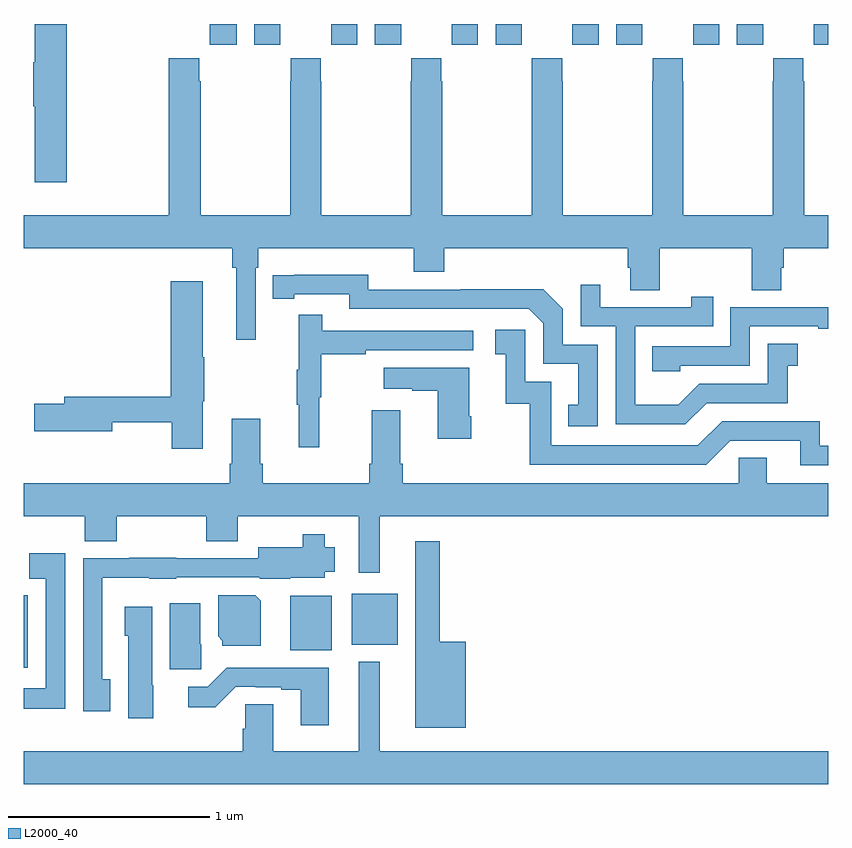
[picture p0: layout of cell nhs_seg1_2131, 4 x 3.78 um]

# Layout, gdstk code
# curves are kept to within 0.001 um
import gdstk
lib = gdstk.Library(unit=1e-6, precision=1e-09)
def R(c, l, rs):  # rectangles x0, y0, x1, y1
    for r in rs: c.add(gdstk.rectangle(r[:2], r[2:], *l))
def P(c, l, *ps):  # polygons
    for p in ps: c.add(gdstk.Polygon(p, *l))
L2000_40 = (2000, 40)

nhs_seg1_2131 = lib.new_cell('nhs_seg1_2131')
R(nhs_seg1_2131, L2000_40, [(227,530.998,227.02,531.359), (228.326,531.086,228.532,531.356), (228.632,531.113,228.859,531.367), (227.924,534.096,228.058,534.199), (228.146,534.096,228.276,534.199), (228.528,534.096,228.658,534.199), (228.746,534.096,228.876,534.199), (229.128,534.096,229.258,534.199), (229.346,534.096,229.476,534.199), (229.728,534.096,229.858,534.199), (229.946,534.096,230.076,534.199), (230.328,534.096,230.458,534.199), (230.546,534.096,230.676,534.199), (230.928,534.096,231,534.199)])
P(nhs_seg1_2131, L2000_40, [(227.213,534.199),(227.054,534.199),(227.054,534.008),(227.047,534.008),(227.047,533.791),(227.054,533.791),(227.054,533.412),(227.213,533.412)],
  [(228.153,532.988),(228.167,532.988),(228.167,533.084),(228.938,533.084),(228.938,532.967),(229.091,532.967),(229.091,533.084),(230.003,533.084),(230.003,532.986),(230.015,532.986),(230.015,532.876),(230.163,532.876),(230.163,533.084),(230.62,533.084),(230.62,532.876),(230.767,532.876),(230.767,532.986),(230.78,532.986),(230.78,533.084),(231,533.084),(231,533.248),(230.88,533.248),(230.88,533.915),(230.877,533.915),(230.877,534.028),(230.727,534.028),(230.727,533.915),(230.725,533.915),(230.725,533.248),(230.28,533.248),(230.28,533.915),(230.277,533.915),(230.277,534.028),(230.127,534.028),(230.127,533.915),(230.125,533.915),(230.125,533.248),(229.68,533.248),(229.68,533.915),(229.677,533.915),(229.677,534.028),(229.527,534.028),(229.527,533.915),(229.525,533.915),(229.525,533.248),(229.08,533.248),(229.08,533.915),(229.077,533.915),(229.077,534.028),(228.927,534.028),(228.927,533.915),(228.925,533.915),(228.925,533.248),(228.48,533.248),(228.48,533.915),(228.477,533.915),(228.477,534.028),(228.327,534.028),(228.327,533.915),(228.325,533.915),(228.325,533.248),(227.88,533.248),(227.88,533.915),(227.873,533.915),(227.873,534.028),(227.72,534.028),(227.72,533.248),(227,533.248),(227,533.084),(228.037,533.084),(228.037,532.988),(228.056,532.988),(228.056,532.629),(228.153,532.629)],
  [(229.854,532.605),(229.68,532.605),(229.68,532.782),(229.582,532.88),(229.174,532.88),(229.174,532.878),(228.714,532.878),(228.714,532.951),(228.238,532.95),(228.238,532.834),(228.346,532.834),(228.346,532.854),(228.618,532.854),(228.618,532.782),(229.512,532.782),(229.584,532.71),(229.584,532.509),(229.757,532.509),(229.757,532.305),(229.708,532.305),(229.708,532.2),(229.854,532.2)],
  [(227.89,532.323),(227.898,532.323),(227.898,532.541),(227.89,532.541),(227.89,532.921),(227.732,532.921),(227.732,532.346),(227.201,532.346),(227.201,532.31),(227.052,532.31),(227.052,532.175),(227.44,532.175),(227.44,532.218),(227.737,532.218),(227.737,532.086),(227.89,532.086)],
  [(230.395,532.314),(230.799,532.314),(230.799,532.499),(230.848,532.499),(230.848,532.609),(230.7,532.609),(230.7,532.41),(230.358,532.41),(230.254,532.306),(230.04,532.306),(230.04,532.695),(230.429,532.695),(230.429,532.843),(230.318,532.843),(230.318,532.791),(229.867,532.791),(229.867,532.903),(229.77,532.903),(229.77,532.695),(229.944,532.695),(229.944,532.209),(230.29,532.209)],
  [(230.265,532.5),(230.61,532.5),(230.61,532.695),(230.951,532.695),(230.951,532.683),(231,532.683),(231,532.791),(230.514,532.791),(230.514,532.596),(230.125,532.596),(230.125,532.473),(230.265,532.473)],
  [(228.47,532.344),(228.478,532.344),(228.478,532.558),(228.701,532.558),(228.701,532.578),(229.234,532.578),(229.234,532.674),(228.485,532.674),(228.485,532.753),(228.368,532.753),(228.368,532.481),(228.357,532.481),(228.357,532.307),(228.368,532.307),(228.368,532.095),(228.47,532.095)],
  [(231,532.101),(230.958,532.101),(230.958,532.224),(230.472,532.224),(230.352,532.104),(229.623,532.104),(229.623,532.419),(229.494,532.419),(229.494,532.678),(229.344,532.678),(229.344,532.557),(229.397,532.557),(229.397,532.311),(229.515,532.311),(229.515,532.008),(230.394,532.008),(230.514,532.128),(230.861,532.128),(230.861,532.005),(231,532.005)],
  [(229.224,532.249),(229.216,532.249),(229.216,532.489),(228.789,532.489),(228.789,532.385),(228.932,532.385),(228.932,532.375),(229.058,532.375),(229.058,532.137),(229.224,532.137)],
  [(228.769,531.752),(231,531.752),(231,531.916),(230.695,531.916),(230.695,532.043),(230.556,532.043),(230.556,531.916),(228.884,531.916),(228.884,532.012),(228.871,532.012),(228.871,532.279),(228.731,532.279),(228.731,532.012),(228.719,532.012),(228.719,531.916),(228.188,531.916),(228.188,532.012),(228.175,532.012),(228.175,532.237),(228.035,532.237),(228.035,532.012),(228.023,532.012),(228.023,531.916),(227,531.916),(227,531.752),(227.303,531.752),(227.303,531.628),(227.463,531.628),(227.463,531.752),(227.908,531.752),(227.908,531.628),(228.063,531.628),(228.063,531.752),(228.665,531.752),(228.665,531.471),(228.769,531.471)],
  [(227.431,530.942),(227.391,530.942),(227.391,531.446),(227.625,531.446),(227.625,531.44),(227.757,531.44),(227.757,531.447),(228.174,531.447),(228.174,531.44),(228.324,531.44),(228.324,531.446),(228.496,531.446),(228.496,531.476),(228.547,531.476),(228.547,531.598),(228.496,531.598),(228.496,531.661),(228.387,531.661),(228.387,531.598),(228.167,531.598),(228.167,531.543),(227.757,531.543),(227.757,531.545),(227.525,531.545),(227.525,531.543),(227.295,531.543),(227.295,530.781),(227.431,530.781)],
  [(229.198,531.127),(229.069,531.127),(229.069,531.628),(228.947,531.628),(228.947,530.699),(229.198,530.699)],
  [(227.205,531.568),(227.026,531.568),(227.026,531.44),(227.109,531.44),(227.109,530.896),(227,530.896),(227,530.795),(227.205,530.795)],
  [(228.178,531.332),(228.152,531.358),(227.966,531.358),(227.966,531.154),(227.988,531.132),(227.988,531.107),(228.178,531.107)],
  [(227.882,531.114),(227.878,531.114),(227.878,531.319),(227.726,531.319),(227.726,530.991),(227.882,530.991)],
  [(227.644,530.91),(227.638,530.91),(227.638,531.301),(227.501,531.301),(227.501,531.156),(227.519,531.156),(227.519,530.748),(227.644,530.748)],
  [(231,530.584),(228.769,530.584),(228.769,531.028),(228.665,531.028),(228.665,530.584),(228.241,530.584),(228.241,530.816),(228.102,530.816),(228.102,530.694),(228.089,530.694),(228.089,530.584),(227,530.584),(227,530.42),(231,530.42)],
  [(228.517,530.998),(228.01,530.998),(227.916,530.904),(227.817,530.904),(227.817,530.802),(227.952,530.802),(228.054,530.904),(228.154,530.904),(228.154,530.901),(228.281,530.901),(228.281,530.889),(228.377,530.889),(228.377,530.712),(228.517,530.712)])

lib.write_gds('nhs_seg1_2131.gds')
